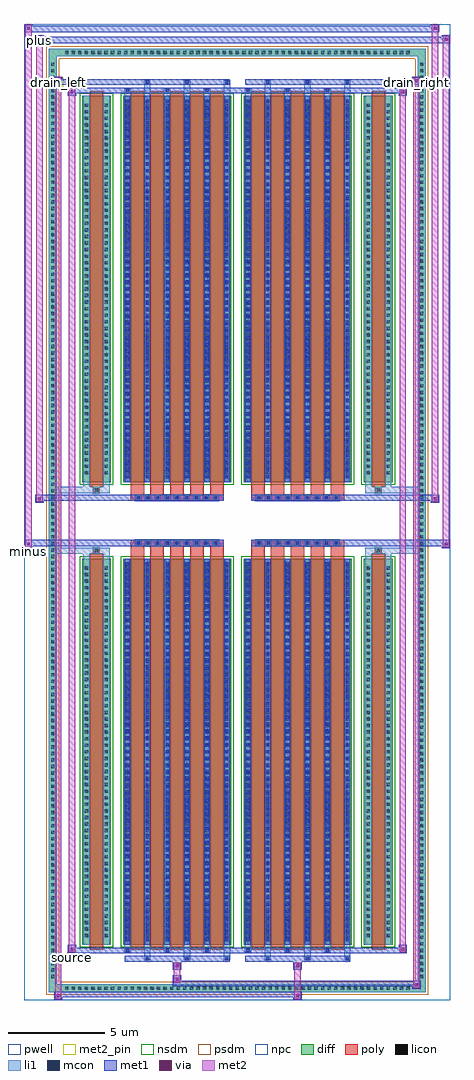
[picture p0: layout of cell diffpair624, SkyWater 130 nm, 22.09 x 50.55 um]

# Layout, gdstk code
import gdstk
lib = gdstk.Library(unit=1e-6, precision=5e-09)
def R(c, l, rs):  # rectangles x0, y0, x1, y1
    for r in rs: c.add(gdstk.rectangle(r[:2], r[2:], *l))
def A(c, l, x, y, w, h, nx, ny, dx, dy):  # array of equal rectangles
    R(c, l, [(x+i*dx, y+j*dy, x+i*dx+w, y+j*dy+h) for i in range(nx) for j in range(ny)])
def P(c, l, *ps):  # polygons
    for p in ps: c.add(gdstk.Polygon(p, *l))
pwell = (64, 44)
diff = (65, 20)
poly = (66, 20)
licon = (66, 44)
li1 = (67, 20)
mcon = (67, 44)
met1 = (68, 20)
via = (68, 44)
met2_pin = (69, 16)
met2 = (69, 20)
nsdm = (93, 44)
psdm = (94, 20)
npc = (95, 20)

diffpair624 = lib.new_cell('diffpair624')
R(diffpair624, pwell, [(-11.03,-24.84,11.03,25.71), (-8.35,-23.03,-0.01,-0.805), (0.01,-23.03,8.35,-0.805), (-8.35,0.805,-0.01,23.03), (0.01,0.805,8.35,23.03)])
A(diffpair624, diff, -9.045, -24.44, 0.41, 0.41, 53, 2, 0.34, 48.47)
A(diffpair624, diff, -9.76, -23.835, 0.41, 0.41, 1, 140, 0, 0.34)
A(diffpair624, diff, 9.35, -23.835, 0.41, 0.41, 1, 140, 0, 0.34)
R(diffpair624, diff, [(-9.045,-24.44,9.045,-24.03), (-9.76,-23.835,-9.35,23.835), (9.35,-23.835,9.76,23.835), (-8.04,-21.985,-6.56,-1.985), (-5.92,-21.985,-0.32,-1.985), (0.32,-21.985,5.92,-1.985), (6.56,-21.985,8.04,-1.985), (-8.04,1.985,-6.56,21.985), (-5.92,1.985,-0.32,21.985), (0.32,1.985,5.92,21.985), (6.56,1.985,8.04,21.985), (-9.045,24.03,9.045,24.44)])
P(diffpair624, diff, [(9.76,24.44),(-9.76,24.44),(-9.76,-24.03),(-9.35,-24.03),(-9.35,24.03),(9.35,24.03),(9.35,-24.03),(-9.35,-24.03),(-9.76,-24.03),(-9.76,-24.44),(9.76,-24.44)])
A(diffpair624, poly, -5.53, -22.235, 0.7, 20.5, 5, 2, 1.03, 23.97)
A(diffpair624, poly, 0.71, -22.235, 0.7, 20.5, 5, 2, 1.03, 23.97)
A(diffpair624, poly, -5.53, -1.735, 0.7, 0.4, 5, 2, 1.03, 3.07)
A(diffpair624, poly, 0.71, -1.735, 0.7, 0.4, 5, 2, 1.03, 3.07)
A(diffpair624, poly, -5.285, -1.335, 0.33, 0.33, 9, 2, 0.5, 2.34)
A(diffpair624, poly, 0.955, -1.335, 0.33, 0.33, 9, 2, 0.5, 2.34)
R(diffpair624, poly, [(-7.65,-22.235,-6.95,-1.735), (6.95,-22.235,7.65,-1.735), (-7.465,-1.735,-7.135,-1.405), (-7.465,-1.735,-7.135,-1.405), (7.135,-1.735,7.465,-1.405), (7.135,-1.735,7.465,-1.405), (-5.53,-1.335,-0.71,-1.005), (0.71,-1.335,5.53,-1.005), (-5.53,1.005,-0.71,1.335), (0.71,1.005,5.53,1.335), (-7.465,1.405,-7.135,1.735), (-7.465,1.405,-7.135,1.735), (7.135,1.405,7.465,1.735), (7.135,1.405,7.465,1.735), (-7.65,1.735,-6.95,22.235), (6.95,1.735,7.65,22.235)])
A(diffpair624, licon, -8.925, -24.32, 0.17, 0.17, 53, 2, 0.34, 48.47)
A(diffpair624, licon, -9.64, -23.715, 0.17, 0.17, 1, 140, 0, 0.34)
A(diffpair624, licon, 9.47, -23.715, 0.17, 0.17, 1, 140, 0, 0.34)
A(diffpair624, licon, -7.9, -21.59, 0.17, 0.17, 1, 57, 0, 0.34)
A(diffpair624, licon, -6.87, -21.59, 0.17, 0.17, 1, 57, 0, 0.34)
A(diffpair624, licon, -5.78, -21.59, 0.17, 0.17, 6, 57, 1.03, 0.34)
A(diffpair624, licon, 0.46, -21.59, 0.17, 0.17, 6, 57, 1.03, 0.34)
A(diffpair624, licon, 6.7, -21.59, 0.17, 0.17, 1, 57, 0, 0.34)
A(diffpair624, licon, 7.73, -21.59, 0.17, 0.17, 1, 57, 0, 0.34)
A(diffpair624, licon, -5.205, -1.255, 0.17, 0.17, 9, 2, 0.5, 2.34)
A(diffpair624, licon, 1.035, -1.255, 0.17, 0.17, 9, 2, 0.5, 2.34)
A(diffpair624, licon, -7.9, 2.38, 0.17, 0.17, 1, 57, 0, 0.34)
A(diffpair624, licon, -6.87, 2.38, 0.17, 0.17, 1, 57, 0, 0.34)
A(diffpair624, licon, -5.78, 2.38, 0.17, 0.17, 6, 57, 1.03, 0.34)
A(diffpair624, licon, 0.46, 2.38, 0.17, 0.17, 6, 57, 1.03, 0.34)
A(diffpair624, licon, 6.7, 2.38, 0.17, 0.17, 1, 57, 0, 0.34)
A(diffpair624, licon, 7.73, 2.38, 0.17, 0.17, 1, 57, 0, 0.34)
R(diffpair624, licon, [(-7.385,-1.655,-7.215,-1.485), (7.215,-1.655,7.385,-1.485), (-7.385,1.485,-7.215,1.655), (7.215,1.485,7.385,1.655)])
A(diffpair624, li1, -9.005, -24.4, 0.33, 0.33, 53, 2, 0.34, 48.47)
A(diffpair624, li1, -9.72, -23.795, 0.33, 0.33, 1, 140, 0, 0.34)
A(diffpair624, li1, 9.39, -23.795, 0.33, 0.33, 1, 140, 0, 0.34)
A(diffpair624, li1, -4.83, -22.79, 0.33, 0.805, 3, 2, 2.06, 44.775)
A(diffpair624, li1, -4.75, -22.79, 0.17, 0.17, 3, 2, 2.06, 45.41)
A(diffpair624, li1, 1.41, -22.79, 0.33, 0.805, 3, 2, 2.06, 44.775)
A(diffpair624, li1, 1.49, -22.79, 0.17, 0.17, 3, 2, 2.06, 45.41)
A(diffpair624, li1, -5.86, -22.36, 0.33, 0.375, 3, 2, 2.06, 44.345)
A(diffpair624, li1, -5.78, -22.36, 0.17, 0.17, 3, 2, 2.06, 44.55)
A(diffpair624, li1, 0.38, -22.36, 0.33, 0.375, 3, 2, 2.06, 44.345)
A(diffpair624, li1, 0.46, -22.36, 0.17, 0.17, 3, 2, 2.06, 44.55)
A(diffpair624, li1, -5.86, -21.985, 0.33, 20, 6, 2, 1.03, 23.97)
A(diffpair624, li1, 0.38, -21.985, 0.33, 20, 6, 2, 1.03, 23.97)
A(diffpair624, li1, -5.78, -21.79, 0.17, 0.17, 6, 55, 1.03, 0.36)
A(diffpair624, li1, -5.78, -21.79, 0.17, 19.61, 6, 2, 1.03, 23.97)
A(diffpair624, li1, 0.46, -21.79, 0.17, 0.17, 6, 55, 1.03, 0.36)
A(diffpair624, li1, 0.46, -21.79, 0.17, 19.61, 6, 2, 1.03, 23.97)
A(diffpair624, li1, -7.98, -21.67, 0.33, 0.33, 1, 57, 0, 0.34)
A(diffpair624, li1, -6.95, -21.67, 0.33, 0.33, 1, 57, 0, 0.34)
A(diffpair624, li1, -5.86, -21.67, 0.33, 0.33, 6, 57, 1.03, 0.34)
A(diffpair624, li1, 0.38, -21.67, 0.33, 0.33, 6, 57, 1.03, 0.34)
A(diffpair624, li1, 6.62, -21.67, 0.33, 0.33, 1, 57, 0, 0.34)
A(diffpair624, li1, 7.65, -21.67, 0.33, 0.33, 1, 57, 0, 0.34)
A(diffpair624, li1, -5.285, -1.335, 0.33, 0.33, 9, 2, 0.5, 2.34)
A(diffpair624, li1, 0.955, -1.335, 0.33, 0.33, 9, 2, 0.5, 2.34)
A(diffpair624, li1, -5.78, 2.18, 0.17, 0.17, 6, 55, 1.03, 0.36)
A(diffpair624, li1, 0.46, 2.18, 0.17, 0.17, 6, 55, 1.03, 0.36)
A(diffpair624, li1, -7.98, 2.3, 0.33, 0.33, 1, 57, 0, 0.34)
A(diffpair624, li1, -6.95, 2.3, 0.33, 0.33, 1, 57, 0, 0.34)
A(diffpair624, li1, -5.86, 2.3, 0.33, 0.33, 6, 57, 1.03, 0.34)
A(diffpair624, li1, 0.38, 2.3, 0.33, 0.33, 6, 57, 1.03, 0.34)
A(diffpair624, li1, 6.62, 2.3, 0.33, 0.33, 1, 57, 0, 0.34)
A(diffpair624, li1, 7.65, 2.3, 0.33, 0.33, 1, 57, 0, 0.34)
R(diffpair624, li1, [(-9.76,-24.44,-9.35,-24.03), (-9.76,-24.44,-9.35,-24.03), (-9.35,-24.44,9.35,-24.03), (9.35,-24.44,9.76,-24.03), (9.35,-24.44,9.76,-24.03), (-9.76,-24.03,-9.35,24.03), (9.35,-24.03,9.76,24.03), (-7.98,-21.985,-7.65,-1.985), (-6.95,-21.985,-6.62,-1.985), (6.62,-21.985,6.95,-1.985), (7.65,-21.985,7.98,-1.985), (-7.98,-1.985,-7.65,-1.405), (-6.95,-1.985,-6.62,-1.405), (6.62,-1.985,6.95,-1.405), (7.65,-1.985,7.98,-1.405), (-9.76,-1.735,-7.465,-1.405), (-7.98,-1.735,-7.465,-1.405), (-7.465,-1.735,-7.135,-1.405), (-7.135,-1.735,-6.62,-1.405), (6.62,-1.735,7.135,-1.405), (7.135,-1.735,7.465,-1.405), (7.135,-1.735,9.76,-1.405), (7.465,-1.735,7.98,-1.405), (-9.76,1.405,-7.465,1.735), (-7.98,1.405,-7.465,1.735), (-7.98,1.405,-7.65,1.985), (-7.465,1.405,-7.135,1.735), (-7.135,1.405,-6.62,1.735), (-6.95,1.405,-6.62,1.985), (6.62,1.405,7.135,1.735), (6.62,1.405,6.95,1.985), (7.135,1.405,7.465,1.735), (7.135,1.405,9.76,1.735), (7.465,1.405,7.98,1.735), (7.65,1.405,7.98,1.985), (-7.98,1.985,-7.65,21.985), (-6.95,1.985,-6.62,21.985), (6.62,1.985,6.95,21.985), (7.65,1.985,7.98,21.985), (-9.76,24.03,-9.35,24.44), (-9.76,24.03,-9.35,24.44), (-9.35,24.03,9.35,24.44), (9.35,24.03,9.76,24.44), (9.35,24.03,9.76,24.44)])
A(diffpair624, mcon, -4.75, -22.79, 0.17, 0.17, 3, 2, 2.06, 45.41)
A(diffpair624, mcon, 1.49, -22.79, 0.17, 0.17, 3, 2, 2.06, 45.41)
A(diffpair624, mcon, -5.78, -22.36, 0.17, 0.17, 3, 2, 2.06, 44.55)
A(diffpair624, mcon, 0.46, -22.36, 0.17, 0.17, 3, 2, 2.06, 44.55)
A(diffpair624, mcon, -5.78, -21.79, 0.17, 0.17, 6, 55, 1.03, 0.36)
A(diffpair624, mcon, 0.46, -21.79, 0.17, 0.17, 6, 55, 1.03, 0.36)
A(diffpair624, mcon, -5.205, -1.255, 0.17, 0.17, 9, 2, 0.5, 2.34)
A(diffpair624, mcon, 1.035, -1.255, 0.17, 0.17, 9, 2, 0.5, 2.34)
A(diffpair624, mcon, -5.78, 2.18, 0.17, 0.17, 6, 55, 1.03, 0.36)
A(diffpair624, mcon, 0.46, 2.18, 0.17, 0.17, 6, 55, 1.03, 0.36)
A(diffpair624, met1, -4.81, -22.85, 0.29, 0.29, 3, 2, 2.06, 45.41)
A(diffpair624, met1, 1.43, -22.85, 0.29, 0.29, 3, 2, 2.06, 45.41)
A(diffpair624, met1, -5.84, -22.42, 0.29, 0.29, 3, 2, 2.06, 44.55)
A(diffpair624, met1, 0.4, -22.42, 0.29, 0.29, 3, 2, 2.06, 44.55)
A(diffpair624, met1, -5.84, -21.985, 0.29, 20, 6, 2, 1.03, 23.97)
A(diffpair624, met1, 0.4, -21.985, 0.29, 20, 6, 2, 1.03, 23.97)
A(diffpair624, met1, -5.84, -21.85, 0.29, 0.29, 6, 55, 1.03, 0.36)
A(diffpair624, met1, 0.4, -21.85, 0.29, 0.29, 6, 55, 1.03, 0.36)
A(diffpair624, met1, -5.265, -1.315, 0.29, 0.29, 9, 2, 0.5, 2.34)
A(diffpair624, met1, 0.975, -1.315, 0.29, 0.29, 9, 2, 0.5, 2.34)
A(diffpair624, met1, -5.84, 2.12, 0.29, 0.29, 6, 55, 1.03, 0.36)
A(diffpair624, met1, 0.4, 2.12, 0.29, 0.29, 6, 55, 1.03, 0.36)
R(diffpair624, met1, [(-9.49,-24.84,-9.06,-24.41), (2.905,-24.84,3.335,-24.41), (-9.49,-24.7,3.335,-24.41), (9.06,-24.27,9.49,-23.84), (-3.335,-24.13,9.49,-23.84), (-3.335,-23.99,-2.905,-23.56), (-3.335,-23.28,-2.905,-22.85), (2.905,-23.28,3.335,-22.85), (-5.84,-22.85,-0.4,-22.56), (0.4,-22.85,5.84,-22.56), (-8.78,-22.42,-8.35,-21.99), (-8.78,-22.42,-5.84,-22.13), (-5.84,-22.42,-0.4,-22.13), (-0.4,-22.42,0.4,-22.13), (0.4,-22.42,5.84,-22.13), (5.84,-22.42,8.78,-22.13), (8.35,-22.42,8.78,-21.99), (-11.03,-1.435,-10.6,-1.005), (10.6,-1.435,11.03,-1.005), (-11.03,-1.335,-0.71,-1.005), (-5.53,-1.335,-0.71,-1.005), (0.71,-1.335,5.53,-1.005), (0.71,-1.335,11.03,-1.005), (-10.46,0.905,-10.03,1.335), (10.03,0.905,10.46,1.335), (-10.46,1.005,-5.53,1.335), (-5.53,1.005,-0.71,1.335), (0.71,1.005,5.53,1.335), (5.53,1.005,10.46,1.335), (-8.78,21.99,-8.35,22.42), (8.35,21.99,8.78,22.42), (-8.78,22.13,-5.84,22.42), (-5.84,22.13,-0.4,22.42), (-0.4,22.13,0.4,22.42), (0.4,22.13,5.84,22.42), (5.84,22.13,8.78,22.42), (-9.49,22.56,-9.06,22.99), (-9.49,22.56,-5.84,22.85), (-5.84,22.56,-0.4,22.85), (0.4,22.56,5.84,22.85), (5.84,22.56,9.49,22.85), (9.06,22.56,9.49,22.99), (-10.46,24.71,-10.03,25.14), (-10.46,24.71,-8.35,25.04), (-8.35,24.71,8.35,25.04), (8.35,24.71,11.03,25.04), (10.6,24.71,11.03,25.14), (-11.03,25.28,-10.6,25.71), (-11.03,25.28,-8.35,25.61), (-8.35,25.28,8.35,25.61), (8.35,25.28,10.46,25.61), (10.03,25.28,10.46,25.71)])
R(diffpair624, via, [(-9.35,-24.7,-9.2,-24.55), (3.045,-24.7,3.195,-24.55), (9.2,-24.13,9.35,-23.98), (-3.195,-23.85,-3.045,-23.7), (-3.195,-23.14,-3.045,-22.99), (3.045,-23.14,3.195,-22.99), (-8.64,-22.28,-8.49,-22.13), (8.49,-22.28,8.64,-22.13), (-10.89,-1.295,-10.74,-1.145), (10.74,-1.295,10.89,-1.145), (-10.32,1.045,-10.17,1.195), (10.17,1.045,10.32,1.195), (-8.64,22.13,-8.49,22.28), (8.49,22.13,8.64,22.28), (-9.35,22.7,-9.2,22.85), (9.2,22.7,9.35,22.85), (-10.32,24.85,-10.17,25), (10.74,24.85,10.89,25), (-10.89,25.42,-10.74,25.57), (10.17,25.42,10.32,25.57)])
R(diffpair624, met2_pin, [(-8.815,-22.87,-8.315,-22.37), (-11.065,-1.885,-10.565,-1.385), (-9.525,22.44,-9.025,22.94), (9.025,22.44,9.525,22.94), (-10.495,24.59,-9.995,25.09)])
R(diffpair624, met2, [(-9.44,-24.79,-9.11,-24.46), (-9.44,-24.79,-9.11,22.94), (2.955,-24.79,3.285,-24.46), (2.955,-24.46,3.285,-23.23), (9.11,-24.22,9.44,-23.89), (9.11,-24.22,9.44,22.94), (-3.285,-23.94,-2.955,-23.61), (-3.285,-23.61,-2.955,-23.23), (-3.285,-23.23,-2.955,-22.9), (2.955,-23.23,3.285,-22.9), (-8.73,-22.37,-8.4,-22.04), (-8.73,-22.37,-8.4,22.37), (8.4,-22.37,8.73,-22.04), (8.4,-22.37,8.73,22.37), (-10.98,-1.385,-10.65,-1.055), (-10.98,-1.385,-10.65,25.66), (10.65,-1.385,10.98,-1.055), (10.65,-1.385,10.98,25.09), (-10.41,0.955,-10.08,1.285), (-10.41,0.955,-10.08,25.09), (10.08,0.955,10.41,1.285), (10.08,0.955,10.41,25.66), (-8.73,22.04,-8.4,22.37), (8.4,22.04,8.73,22.37), (-9.44,22.61,-9.11,22.94), (9.11,22.61,9.44,22.94), (-10.41,24.76,-10.08,25.09), (10.65,24.76,10.98,25.09), (-10.98,25.33,-10.65,25.66), (10.08,25.33,10.41,25.66)])
P(diffpair624, met2, [(10.98,-1.385),(10.98,-1.385),(10.98,-1.055),(10.98,-1.055)],
  [(10.98,24.76),(10.98,24.76),(10.98,25.09),(10.98,25.09)],
  [(-10.65,-1.385),(-10.65,-1.385),(-10.65,-1.055),(-10.65,-1.055)],
  [(-10.65,25.33),(-10.65,25.33),(-10.65,25.66),(-10.65,25.66)],
  [(10.41,0.955),(10.41,0.955),(10.41,1.285),(10.41,1.285)],
  [(10.41,25.33),(10.41,25.33),(10.41,25.66),(10.41,25.66)],
  [(-10.08,0.955),(-10.08,0.955),(-10.08,1.285),(-10.08,1.285)],
  [(-10.08,24.76),(-10.08,24.76),(-10.08,25.09),(-10.08,25.09)],
  [(-9.11,-24.79),(-9.11,-24.79),(-9.11,-24.46),(-9.11,-24.46)],
  [(-9.11,22.61),(-9.11,22.61),(-9.11,22.94),(-9.11,22.94)],
  [(9.44,-24.22),(9.44,-24.22),(9.44,-23.89),(9.44,-23.89)],
  [(9.44,22.61),(9.44,22.61),(9.44,22.94),(9.44,22.94)],
  [(-8.4,-22.37),(-8.4,-22.37),(-8.4,-22.04),(-8.4,-22.04)],
  [(-8.4,22.04),(-8.4,22.04),(-8.4,22.37),(-8.4,22.37)],
  [(8.73,-22.37),(8.73,-22.37),(8.73,-22.04),(8.73,-22.04)],
  [(8.73,22.04),(8.73,22.04),(8.73,22.37),(8.73,22.37)])
R(diffpair624, nsdm, [(-8.17,-22.115,-6.43,-1.855), (-6.05,-22.115,-0.19,-1.855), (0.19,-22.115,6.05,-1.855), (6.43,-22.115,8.17,-1.855), (-8.17,1.855,-6.43,22.115), (-6.05,1.855,-0.19,22.115), (0.19,1.855,6.05,22.115), (6.43,1.855,8.17,22.115)])
P(diffpair624, psdm, [(9.89,24.57),(-9.89,24.57),(-9.89,-23.9),(-9.22,-23.9),(-9.22,23.9),(9.22,23.9),(9.22,-23.9),(-9.22,-23.9),(-9.89,-23.9),(-9.89,-24.57),(9.89,-24.57)])
A(diffpair624, npc, -5.305, -1.355, 0.37, 0.37, 9, 2, 0.5, 2.34)
A(diffpair624, npc, 0.935, -1.355, 0.37, 0.37, 9, 2, 0.5, 2.34)
R(diffpair624, npc, [(-7.485,-1.755,-7.115,-1.385), (7.115,-1.755,7.485,-1.385), (-5.305,-1.355,-4.435,-0.985), (-5.305,-1.355,-4.435,-0.985), (-4.805,-1.355,-3.935,-0.985), (-4.805,-1.355,-3.935,-0.985), (-4.305,-1.355,-3.435,-0.985), (-4.305,-1.355,-3.435,-0.985), (-3.805,-1.355,-2.935,-0.985), (-3.805,-1.355,-2.935,-0.985), (-3.305,-1.355,-2.435,-0.985), (-3.305,-1.355,-2.435,-0.985), (-2.805,-1.355,-1.935,-0.985), (-2.805,-1.355,-1.935,-0.985), (-2.305,-1.355,-1.435,-0.985), (-2.305,-1.355,-1.435,-0.985), (-1.805,-1.355,-0.935,-0.985), (-1.805,-1.355,-0.935,-0.985), (0.935,-1.355,1.805,-0.985), (0.935,-1.355,1.805,-0.985), (1.435,-1.355,2.305,-0.985), (1.435,-1.355,2.305,-0.985), (1.935,-1.355,2.805,-0.985), (1.935,-1.355,2.805,-0.985), (2.435,-1.355,3.305,-0.985), (2.435,-1.355,3.305,-0.985), (2.935,-1.355,3.805,-0.985), (2.935,-1.355,3.805,-0.985), (3.435,-1.355,4.305,-0.985), (3.435,-1.355,4.305,-0.985), (3.935,-1.355,4.805,-0.985), (3.935,-1.355,4.805,-0.985), (4.435,-1.355,5.305,-0.985), (4.435,-1.355,5.305,-0.985), (-5.305,0.985,-4.435,1.355), (-5.305,0.985,-4.435,1.355), (-4.805,0.985,-3.935,1.355), (-4.805,0.985,-3.935,1.355), (-4.305,0.985,-3.435,1.355), (-4.305,0.985,-3.435,1.355), (-3.805,0.985,-2.935,1.355), (-3.805,0.985,-2.935,1.355), (-3.305,0.985,-2.435,1.355), (-3.305,0.985,-2.435,1.355), (-2.805,0.985,-1.935,1.355), (-2.805,0.985,-1.935,1.355), (-2.305,0.985,-1.435,1.355), (-2.305,0.985,-1.435,1.355), (-1.805,0.985,-0.935,1.355), (-1.805,0.985,-0.935,1.355), (0.935,0.985,1.805,1.355), (0.935,0.985,1.805,1.355), (1.435,0.985,2.305,1.355), (1.435,0.985,2.305,1.355), (1.935,0.985,2.805,1.355), (1.935,0.985,2.805,1.355), (2.435,0.985,3.305,1.355), (2.435,0.985,3.305,1.355), (2.935,0.985,3.805,1.355), (2.935,0.985,3.805,1.355), (3.435,0.985,4.305,1.355), (3.435,0.985,4.305,1.355), (3.935,0.985,4.805,1.355), (3.935,0.985,4.805,1.355), (4.435,0.985,5.305,1.355), (4.435,0.985,5.305,1.355), (-7.485,1.385,-7.115,1.755), (7.115,1.385,7.485,1.755)])
diffpair624.add(gdstk.Label('minus', (-10.815,-1.635), layer=69, texttype=5))
diffpair624.add(gdstk.Label('drain_right', (9.275,22.69), layer=69, texttype=5))
diffpair624.add(gdstk.Label('drain_left', (-9.275,22.69), layer=69, texttype=5))
diffpair624.add(gdstk.Label('source', (-8.565,-22.62), layer=69, texttype=5))
diffpair624.add(gdstk.Label('plus', (-10.245,24.84), layer=69, texttype=5))

lib.write_gds('diffpair624.gds')
